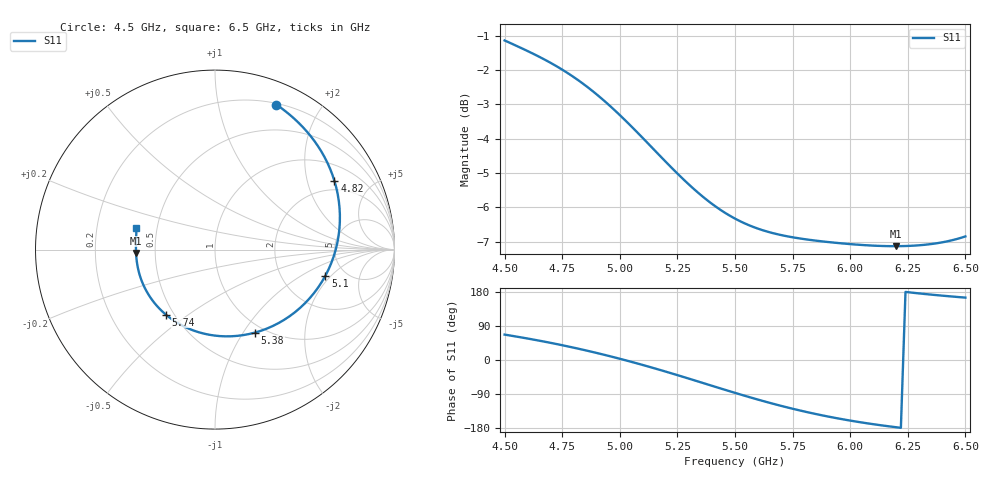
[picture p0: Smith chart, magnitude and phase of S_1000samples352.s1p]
! TOUCHSTONE file generated by CST MICROWAVE STUDIO
! Date and time: Thu Oct 27 21:09:44 2022
! Project name: L.cst
! Parameters = {Di=1.27; Epsilon_r=1.56; InnerDiameter=1.27; Length=2; Lf=10; Lg=60; OuterConductorThickness=0.2921; OuterDiameter=3.6; Wf=3; Wp=41.2; de=1.5; df=6.8; g=0.8; gx=2.0513; gy=1.55972; h=2.34; hf=1.524; px=11.2261; py=9.04887; w=9.7; wx=9.17477; wy=7.48916}
! Header version: 2018
! Port assignment regex: !\s*Touchstone port\s*([0-9]+)\s*=\s*(CST MWS port|CST DS port)\s*([0-9]+|Zmin|Zmax)\s*\(\"(.*)\"\)(\s*mode\s*([0-9]+))?.*
! Touchstone port assignment:
! Touchstone port 1 = CST MWS port 1 ("")
# GHz S DB R 50
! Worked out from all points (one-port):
!   101 points, 4.5 GHz to 6.5 GHz, reference 50 ohm
!   lowest |S11| = -7.1 dB at 6.2 GHz (marker M1), VSWR 2.57, Z = 19.4 - j0.939 ohm
!   |S11| at or under -10 dB: nowhere
!   S11 on the Smith chart (normalised r, x): 4.5 GHz: 0.21, +1.49; 4.82 GHz: 1.60, +2.97; 5.1 GHz: 3.56, -1.71; 5.38 GHz: 0.90, -1.13; 5.74 GHz: 0.45, -0.41; 6.5 GHz: 0.38, +0.12
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4.5  -1.14 67.0
4.58  -1.39 58.8
4.64  -1.58 52.2
4.7  -1.79 45.2
4.76  -2.03 37.7
4.82  -2.30 29.8
4.88  -2.60 21.4
4.92  -2.83 15.6
5  -3.31 3.3
5.04  -3.57 -3.2
5.1  -3.98 -13.2
5.18  -4.54 -27.2
5.26  -5.08 -41.8
5.32  -5.46 -53.0
5.38  -5.79 -64.3
5.44  -6.09 -75.6
5.5  -6.33 -86.7
5.56  -6.52 -97.5
5.62  -6.66 -107.9
5.68  -6.77 -117.8
5.74  -6.86 -127.1
5.76  -6.88 -130.1
5.88  -6.99 -146.3
6  -7.07 -159.9
6.1  -7.11 -169.4
6.2  -7.13 -177.5
6.26  -7.12 178.3
6.5  -6.84 164.6
